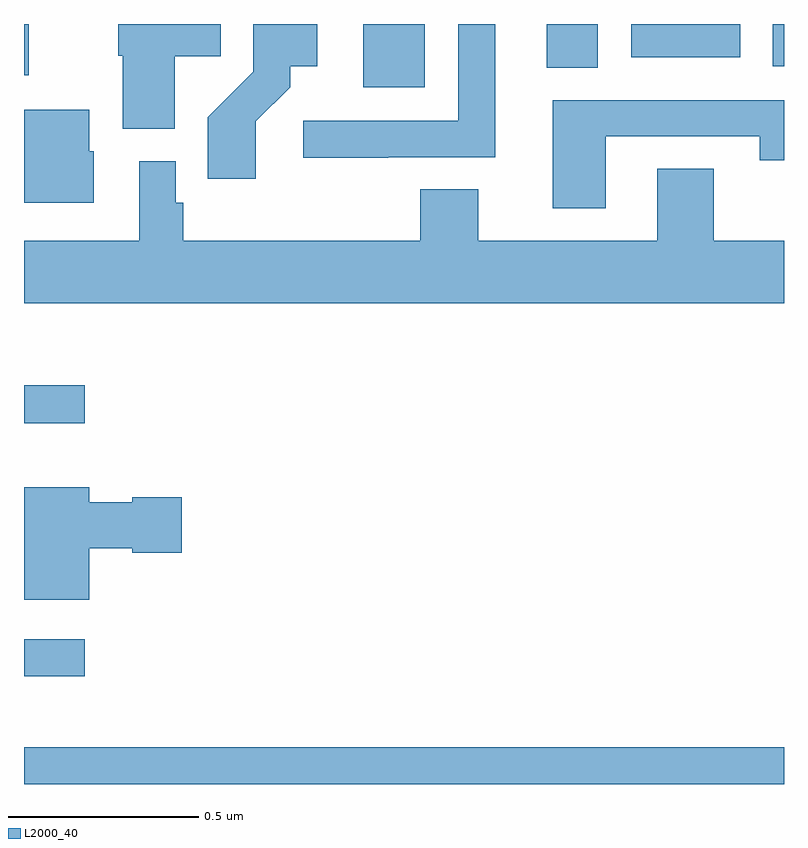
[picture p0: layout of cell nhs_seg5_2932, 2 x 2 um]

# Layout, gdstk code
import gdstk
lib = gdstk.Library(unit=1e-6, precision=1e-09)
def R(c, l, rs):  # rectangles x0, y0, x1, y1
    for r in rs: c.add(gdstk.rectangle(r[:2], r[2:], *l))
def P(c, l, *ps):  # polygons
    for p in ps: c.add(gdstk.Polygon(p, *l))
L2000_40 = (2000, 40)

nhs_seg5_2932 = lib.new_cell('nhs_seg5_2932')
R(nhs_seg5_2932, L2000_40, [(150,884.799,152,884.896), (150,885.083,150.16,885.18), (150,885.749,150.16,885.848), (150.893,886.632,151.054,886.799), (150,886.664,150.012,886.799), (151.376,886.684,151.51,886.799), (151.97,886.688,152,886.799), (151.598,886.712,151.885,886.799)])
P(nhs_seg5_2932, L2000_40, [(150.959,886.449),(151.24,886.449),(151.24,886.799),(151.143,886.799),(151.143,886.545),(150.735,886.545),(150.735,886.447),(150.959,886.447)],
  [(150.61,886.543),(150.7,886.633),(150.7,886.688),(150.772,886.688),(150.772,886.799),(150.603,886.799),(150.603,886.673),(150.484,886.554),(150.484,886.392),(150.61,886.392)],
  [(150.397,886.714),(150.518,886.714),(150.518,886.799),(150.248,886.799),(150.248,886.716),(150.26,886.716),(150.26,886.523),(150.397,886.523)],
  [(151.531,886.503),(151.936,886.503),(151.936,886.44),(152,886.44),(152,886.599),(151.391,886.599),(151.391,886.314),(151.531,886.314)],
  [(150.184,886.464),(150.172,886.464),(150.172,886.573),(150,886.573),(150,886.328),(150.184,886.328)],
  [(152,886.228),(151.815,886.228),(151.815,886.418),(151.667,886.418),(151.667,886.228),(151.195,886.228),(151.195,886.364),(151.043,886.364),(151.043,886.228),(150.419,886.228),(150.419,886.329),(150.399,886.329),(150.399,886.438),(150.303,886.438),(150.303,886.228),(150,886.228),(150,886.064),(152,886.064)],
  [(150.172,885.419),(150.285,885.419),(150.285,885.407),(150.415,885.407),(150.415,885.554),(150.285,885.554),(150.285,885.541),(150.172,885.541),(150.172,885.58),(150,885.58),(150,885.284),(150.172,885.284)])

lib.write_gds('nhs_seg5_2932.gds')
